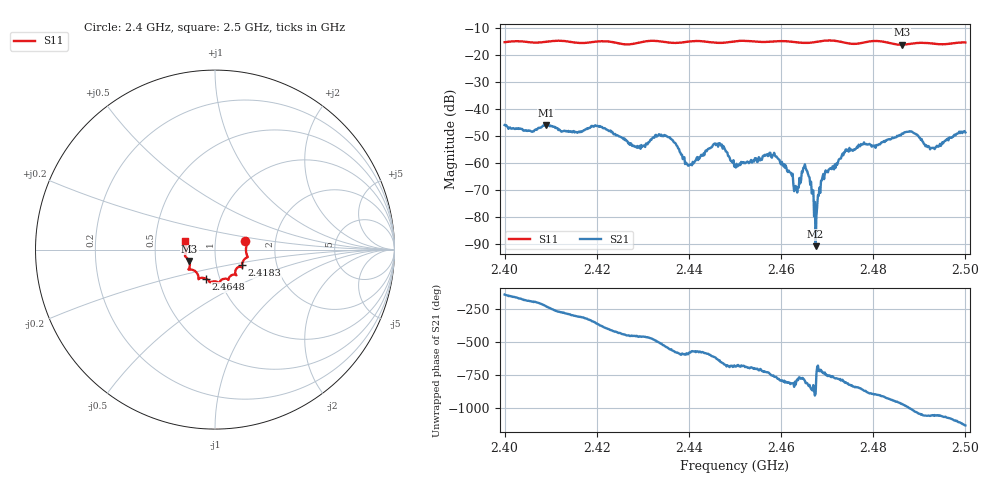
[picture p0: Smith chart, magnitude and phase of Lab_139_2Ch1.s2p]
# Hz S RI R 50
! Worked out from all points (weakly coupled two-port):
!   601 points, 2.4 GHz to 2.5 GHz, reference 50 ohm
!   highest |S21| = -45.76 dB at 2.409 GHz (marker M1); lowest = -90.8 dB at 2.4675 GHz (marker M2)
!   lowest |S11| = -16.1 dB at 2.4862 GHz (marker M3), VSWR 1.37, Z = 37.1 - j4.82 ohm
!   |S11| at or under -10 dB: start of sweep to end of sweep
!   S12 and S22 are empty: the file has one direction only
!   S11 on the Smith chart (normalised r, x): 2.4 GHz: 1.40, +0.13; 2.4183 GHz: 1.33, -0.24; 2.4648 GHz: 0.86, -0.29; 2.5 GHz: 0.71, +0.07
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2.4e9  0.1692 0.0458  -0.00404 -0.00312  0 0  0 0
2.409e9  0.1763 -0.0271  -0.00326 0.00399  0 0  0 0
2.416667e9  0.1549 -0.0683  0.00258 0.00278  0 0  0 0
2.418333e9  0.1498 -0.087  0.00396 0.0021  0 0  0 0
2.429e9  0.1125 -0.1289  -0.000427 -0.00189  0 0  0 0
2.433333e9  0.1174 -0.1411  -0.0026 -0.00201  0 0  0 0
2.436167e9  0.0982 -0.1403  -0.00271 0.000784  0 0  0 0
2.439667e9  0.0763 -0.1616  -0.000556 0.000758  0 0  0 0
2.446167e9  0.0515 -0.1626  4.87e-05 0.0023  0 0  0 0
2.45e9  0.0254 -0.1807  0.000767 0.000526  0 0  0 0
2.458667e9  -0.0221 -0.1803  0.000966 -0.000994  0 0  0 0
2.463333e9  -0.0375 -0.1708  8.76e-05 -0.000343  0 0  0 0
2.464833e9  -0.0507 -0.1625  0.000413 -0.000715  0 0  0 0
2.465667e9  -0.0602 -0.1591  -4.42e-05 -0.00071  0 0  0 0
2.466667e9  -0.0714 -0.1573  -0.000219 -0.000164  0 0  0 0
2.4675e9  -0.0795 -0.1581  -2.87e-05 -4.37e-06  0 0  0 0
2.469167e9  -0.0902 -0.1629  0.0006 -0.000196  0 0  0 0
2.473667e9  -0.0933 -0.146  0.000258 -0.00157  0 0  0 0
2.483333e9  -0.1414 -0.0965  -0.00238 0.00144  0 0  0 0
2.486167e9  -0.144 -0.0633  -0.00128 0.00329  0 0  0 0
2.492833e9  -0.1643 -0.0214  0.00174 0.000826  0 0  0 0
2.5e9  -0.167 0.047  0.00224 -0.00298  0 0  0 0
